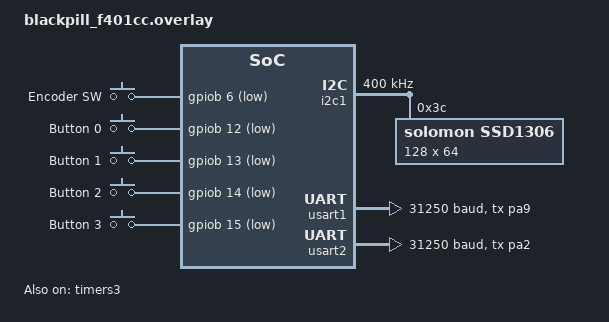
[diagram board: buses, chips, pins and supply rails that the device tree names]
#include <dt-bindings/pinctrl/stm32-pinctrl.h>

/* Disable SPI1 to free PA6 and PA7 for TIM3 */
&spi1 {
    status = "disabled";
};

&pinctrl {
    usart1_tx_pa9: usart1_tx_pa9 {
        pinmux = <STM32_PINMUX('A', 9, AF7)>;
        bias-disable;
        drive-push-pull;
        slew-rate = "very-high-speed";
    };

    usart2_tx_pa2: usart2_tx_pa2 {
        pinmux = <STM32_PINMUX('A', 2, AF7)>;
        bias-disable;
        drive-push-pull;
        slew-rate = "very-high-speed";
    };
};

/* OLED (PB8=SCL, PB9=SDA) */
&i2c1 {
    status = "okay";
    /* PB8 = SCL, PB9 = SDA — default board pins, no pinctrl override needed */
    pinctrl-names = "default";
    clock-frequency = <I2C_BITRATE_FAST>;

    ssd1306: ssd1306@3c {
        compatible = "solomon,ssd1306";
        reg = <0x3c>;
        width = <128>;
        height = <64>;
        segment-offset = <0>;
        page-offset = <0>;
        display-offset = <0>;
        multiplex-ratio = <63>;
        prechargep = <0x22>;
        segment-remap;
        com-invdir;
    };
};

&usart1 {
    status = "okay";
    current-speed = <31250>;
    pinctrl-0 = <&usart1_tx_pa9>;  /* adjust pin to your wiring */
    pinctrl-names = "default";
    single-wire;
};

&usart2 {
    status = "okay";
    current-speed = <31250>;
    pinctrl-0 = <&usart2_tx_pa2>;  /* adjust pin to your wiring */
    pinctrl-names = "default";
    single-wire;
};

/* TIM3 CH1=PA6, CH2=PA7 */
&timers3 {
    status = "okay";

    qdec: qdec {
        compatible = "st,stm32-qdec";
        status = "okay";
        pinctrl-0 = <&tim3_ch1_pa6 &tim3_ch2_pa7>;
        pinctrl-names = "default";
        st,counts-per-revolution = <20>;
        st,input-filter-level = <FDIV32_N8>;
    };
};
/* 16BIT - disabled to use TIM4 for MIDI clock directly */
&timers4 {
    status = "disabled";
};

/* 32 BIT - disabled to use TIM5 for MIDI clock directly */
&timers5 {
    status = "disabled";
};
 &timers5 {
    status = "disabled";
};

/ {
    chosen {
        zephyr,display = &ssd1306;
    };

    aliases {
        qdec0               = &qdec;
        midi-master-uart    = &usart1;
        midi-poly-uart      = &usart2;
    };

    encodersw {
        compatible = "gpio-keys";

        encodersw0: encoder_sw0 {
            gpios = <&gpiob 6 (GPIO_ACTIVE_LOW | GPIO_PULL_UP)>;
            label = "Encoder SW";
        };
    };

    buttons {
        compatible = "gpio-keys";

        button0: button_0 {
            gpios = <&gpiob 12 (GPIO_ACTIVE_LOW | GPIO_PULL_UP)>;
            label = "Button 0";
        };
        button1: button_1 {
            gpios = <&gpiob 13 (GPIO_ACTIVE_LOW | GPIO_PULL_UP)>;
            label = "Button 1";
        };
        button2: button_2 {
            gpios = <&gpiob 14 (GPIO_ACTIVE_LOW | GPIO_PULL_UP)>;
            label = "Button 2";
        };
        button3: button_3 {
            gpios = <&gpiob 15 (GPIO_ACTIVE_LOW | GPIO_PULL_UP)>;
            label = "Button 3";
        };
    };
};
